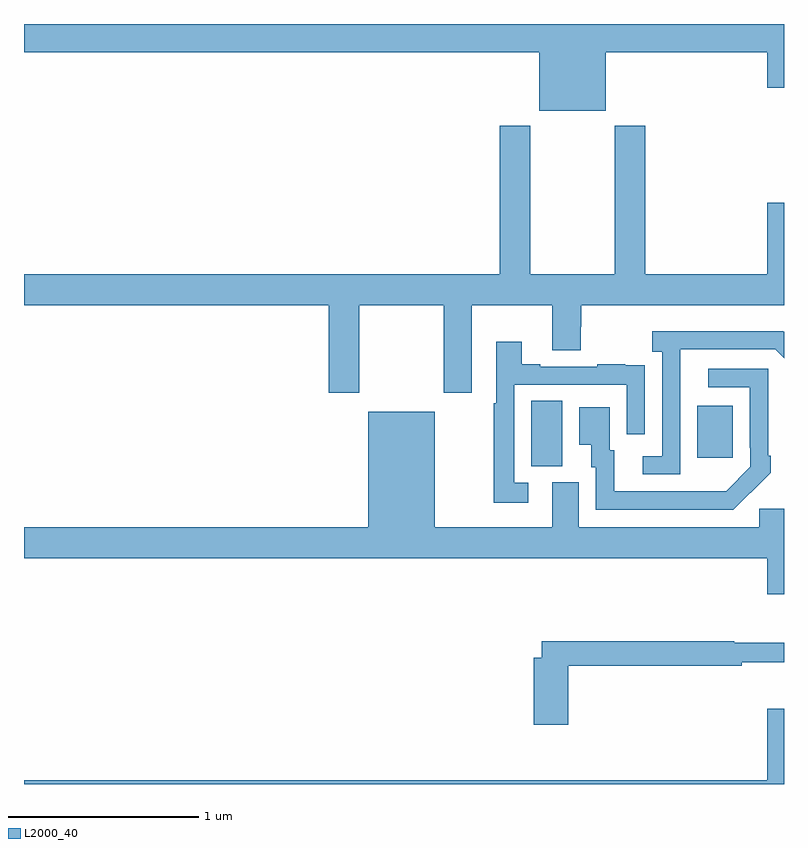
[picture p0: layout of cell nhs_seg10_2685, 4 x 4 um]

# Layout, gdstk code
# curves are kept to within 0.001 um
import gdstk
lib = gdstk.Library(unit=1e-6, precision=1e-09)
def R(c, l, rs):  # rectangles x0, y0, x1, y1
    for r in rs: c.add(gdstk.rectangle(r[:2], r[2:], *l))
def P(c, l, *ps):  # polygons
    for p in ps: c.add(gdstk.Polygon(p, *l))
L2000_40 = (2000, 40)

nhs_seg10_2685 = lib.new_cell('nhs_seg10_2685')
R(nhs_seg10_2685, L2000_40, [(259.67,1262.173,259.834,1262.516), (260.543,1262.217,260.731,1262.491)])
P(nhs_seg10_2685, L2000_40, [(260.062,1264.352),(260.912,1264.352),(260.912,1264.164),(261,1264.164),(261,1264.5),(257,1264.5),(257,1264.352),(259.712,1264.352),(259.712,1264.043),(260.062,1264.043)],
  [(258.765,1263.02),(259.21,1263.02),(259.21,1262.559),(259.357,1262.559),(259.357,1263.02),(259.781,1263.02),(259.781,1262.782),(259.929,1262.782),(259.929,1262.907),(259.934,1262.907),(259.934,1263.02),(261,1263.02),(261,1263.559),(260.912,1263.559),(260.912,1263.184),(260.27,1263.184),(260.27,1263.964),(260.11,1263.964),(260.11,1263.184),(259.665,1263.184),(259.665,1263.964),(259.505,1263.964),(259.505,1263.184),(257,1263.184),(257,1263.02),(258.605,1263.02),(258.605,1262.559),(258.765,1262.559)],
  [(260.454,1262.587),(260.455,1262.787),(260.955,1262.787),(261,1262.742),(261,1262.88),(260.996,1262.884),(260.307,1262.884),(260.307,1262.774),(260.358,1262.774),(260.358,1262.226),(260.256,1262.226),(260.256,1262.13),(260.454,1262.13)],
  [(259.654,1262.085),(259.581,1262.085),(259.581,1262.601),(260.172,1262.601),(260.172,1262.34),(260.268,1262.34),(260.268,1262.594),(260.267,1262.594),(260.267,1262.703),(260.165,1262.703),(260.165,1262.71),(260.017,1262.71),(260.017,1262.697),(259.717,1262.697),(259.717,1262.71),(259.621,1262.71),(259.621,1262.827),(259.485,1262.827),(259.485,1262.504),(259.473,1262.504),(259.473,1261.98),(259.654,1261.98)],
  [(260.825,1262.035),(260.826,1262.034),(260.931,1262.139),(260.931,1262.227),(260.916,1262.227),(260.916,1262.685),(260.601,1262.685),(260.601,1262.589),(260.82,1262.589),(260.82,1262.269),(260.823,1262.269),(260.823,1262.169),(260.695,1262.041),(260.107,1262.04),(260.107,1262.256),(260.083,1262.256),(260.083,1262.482),(259.922,1262.482),(259.922,1262.285),(259.985,1262.285),(259.985,1262.166),(260.01,1262.166),(260.01,1261.944),(260.734,1261.944)],
  [(261,1261.95),(260.871,1261.95),(260.871,1261.852),(259.921,1261.852),(259.921,1262.088),(259.781,1262.088),(259.781,1261.852),(259.162,1261.852),(259.162,1262.458),(258.812,1262.458),(258.812,1261.852),(257,1261.852),(257,1261.688),(260.912,1261.688),(260.912,1261.5),(261,1261.5)],
  [(259.865,1261.123),(260.777,1261.123),(260.777,1261.141),(261,1261.141),(261,1261.244),(260.737,1261.244),(260.737,1261.252),(259.724,1261.252),(259.724,1261.165),(259.682,1261.165),(259.682,1260.813),(259.865,1260.813)],
  [(261,1260.895),(260.912,1260.895),(260.912,1260.52),(257,1260.52),(257,1260.5),(261,1260.5)])

lib.write_gds('nhs_seg10_2685.gds')
